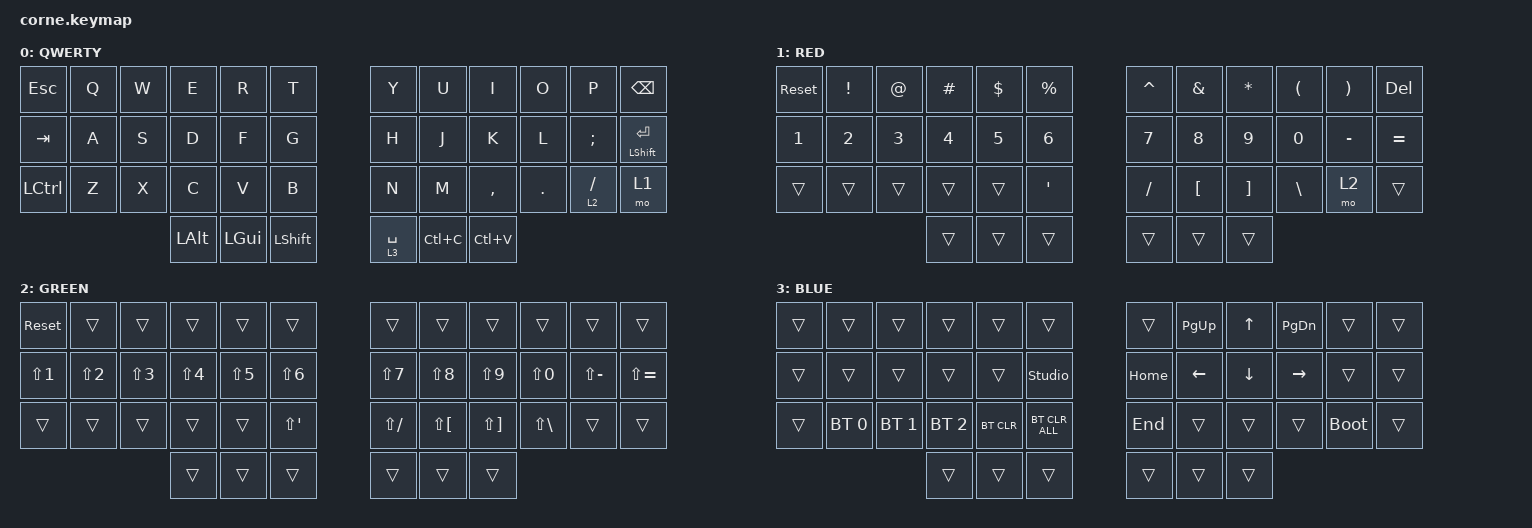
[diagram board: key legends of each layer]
#include <behaviors.dtsi>
#include <dt-bindings/zmk/bt.h>
#include <dt-bindings/zmk/keys.h>
#include <dt-bindings/zmk/pointing.h>

#define QWERTY 0
#define RED 1
#define GREEN 2
#define BLUE 3

/ {
    behaviors {
        hm: homerow_mods {
            compatible = "zmk,behavior-hold-tap";
            #binding-cells = <2>;
            tapping-term-ms = <200>;
            flavor = "tap-preferred";
            bindings = <&kp>, <&kp>;

            quick-tap-ms = <180>;
            require-prior-idle-ms = <120>; /* tune to taste */
        };

  
    };

    //

    keymap {
        compatible = "zmk,keymap";

        QWERTY {
            display-name = "QWERTY";

            // -----------------------------------------------------------------------------------------
            // |  Q  |  W  |  E  |  R  |  T  |   |  Y  |  U   |  I  |  O  |  P  |
            // |  A  |  S  |  D  |  F  |  G  |   |  H  |  J   |  K  |  L  |  ;  |
            // |  Z  |  X  |  C  |  V  |  B  |   |  N  |  M   |  ,  |  .  |  /  |
            // | GUI | CTRL | SHFT | LWR | SPC |   | ENT | RSE  | BKSP | ALT | ESC |

            bindings = <
&kp ESC    &kp Q  &kp W  &kp E     &kp R  &kp T        &kp Y    &kp U      &kp I          &kp O    &kp P     &kp BACKSPACE
&kp TAB  &kp A  &kp S  &kp D     &kp F  &kp G        &kp H    &kp J      &kp K          &kp L    &kp SEMI  &mt LSHIFT ENTER
&kp LCTRL  &kp Z  &kp X  &kp C     &kp V  &kp B        &kp N    &kp M      &kp COMMA      &kp DOT  &lt 2 SLASH  &mo 1
                         &kp LALT  &kp LGUI  &kp LSHFT    &lt 3 SPACE  &kp LC(C)  &kp LC(V)
            >;
        };

        RED {
            display-name = "RED";

            // -----------------------------------------------------------------------------------------
            // |  TAB |  1  |  2  |  3  |  4  |  5  |   |  6  |  7  |  8  |  9  |  0  | BKSP |
            // | BTCLR| BT1 | BT2 | BT3 | BT4 | BT5 |   | LFT | DWN |  UP | RGT |     |      |
            // | SHFT |     |     |     |     |     |   |     |     |     |     |     |      |
            // | GUI | CTRL | SHFT | LWR | SPC |   | ENT | RSE  | BKSP | ALT | ESC |

            bindings = <
&sys_reset  &kp EXCL  &kp AT     &kp HASH     &kp DLLR    &kp PRCNT        &kp CARET   &kp AMPS        &kp STAR        &kp LPAR   &kp RPAR  &kp DEL
&kp N1  &kp N2  &kp N3    &kp N4  &kp N5      &kp N6      &kp N7   &kp N8  &kp N9        &kp N0  &kp MINUS &kp EQUAL
&trans  &trans  &trans  &trans     &trans  &kp SQT    &kp SLASH   &kp LBKT  &kp RBKT  &kp BSLH  &mo 2  &trans
                          &trans      &trans           &trans        &trans  &trans        &trans
            >;
        };

        GREEN {
            display-name = "GREEN";

            // -----------------------------------------------------------------------------------------
            // |  TAB |  !  |  @  |  #  |  $  |  %  |   |  ^  |  &  |  *  |  (  |  )  | BKSP |
            // | CTRL |     |     |     |     |     |   |  -  |  =  |  [  |  ]  |  \  |  `   |
            // | SHFT |     |     |     |     |     |   |  _  |  +  |  {  |  }  | "|" |  ~   |
            //                    | GUI |     | SPC |   | ENT |     | ALT |

            bindings = <
&sys_reset  &trans  &trans          &trans        &trans         &trans    &trans  &trans   &trans  &trans  &trans  &trans
&kp LS(N1)  &kp LS(N2)    &kp LS(N3)       &kp LS(N4)    &kp LS(N5)     &kp LS(N6)    &kp LS(N7)  &kp LS(N8)  &kp LS(N9)   &kp LS(N0)  &kp LS(MINUS)  &kp LS(EQUAL)
&trans  &trans    &trans &trans  &trans  &kp LS(SQT)    &kp LS(SLASH)  &kp LS(LBKT)   &kp LS(RBKT)   &kp LS(BSLH)  &trans  &trans
                                  &trans        &trans     &trans   &trans    &trans     &trans
            >;
        };

        BLUE {
            display-name = "BLUE";
            bindings = <
&trans  &trans      &trans        &trans        &trans      &trans            &trans   &kp PG_UP   &kp UP   &kp PG_DN   &trans      &trans
&trans  &trans       &trans       &trans        &trans      &studio_unlock        &kp HOME  &kp LEFT  &kp DOWN  &kp RIGHT  &trans       &trans
&trans  &bt BT_SEL 0  &bt BT_SEL 1  &bt BT_SEL 2  &bt BT_CLR  &bt BT_CLR_ALL    &kp END  &trans  &trans  &trans  &bootloader  &trans
                                    &trans        &trans      &trans            &trans  &trans  &trans
            >;
        };
    };

};
    
